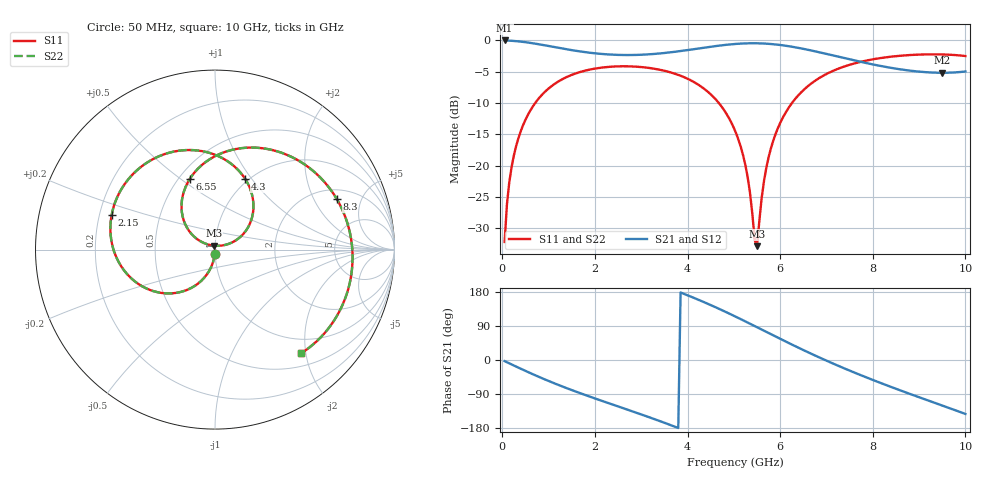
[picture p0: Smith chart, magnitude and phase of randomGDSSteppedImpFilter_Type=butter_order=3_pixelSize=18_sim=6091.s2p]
! freq	dB(S11)	phase(S11)	dB(S12)	phase(S12)
!  dB(S21)	phase(S21)	dB(S22)	phase(S22)
!S-par simulation data
#  GHz  S  DB  R 50
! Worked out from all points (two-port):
!   200 points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, 50 MHz to 10 GHz, reference 50 ohm
!   highest |S21| = -0.01 dB at 50 MHz (marker M1); lowest = -5.2 dB at 9.5 GHz (marker M2)
!   |S21| within 3 dB of the highest: start of sweep to 7.493 GHz
!   lowest |S11| = -32.8 dB at 5.5 GHz (marker M3), VSWR 1.05, Z = 49.4 + j2.18 ohm
!   |S11| at or under -10 dB: start of sweep to 709.9 MHz; 4.676 GHz to 6.255 GHz (1.578 GHz wide, 28.9 % of centre)
!   |S22| runs from -32.7 to -2.2 dB; largest |S21 - S12| = 0
!   S11 on the Smith chart (normalised r, x): 50 MHz: 1.00, -0.05; 2.15 GHz: 0.25, +0.15; 4.3 GHz: 0.97, +0.93; 6.55 GHz: 0.57, +0.54; 8.3 GHz: 2.50, +3.08; 10 GHz: 0.72, -1.91
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0.05  -32.16 -93.0  -0.01 -3.0  -0.01 -3.0  -32.16 -93.0
0.1  -26.17 -96.1  -0.02 -5.9  -0.02 -5.9  -26.17 -96.1
0.2  -20.25 -102.1  -0.06 -11.7  -0.06 -11.7  -20.25 -102.1
0.5  -12.67 -119.3  -0.28 -28.8  -0.28 -28.8  -12.67 -119.3
1.1  -7.09 -150.9  -1.03 -60.4  -1.03 -60.4  -7.09 -150.9
1.75  -4.90 178.9  -1.83 -90.6  -1.83 -90.6  -4.90 178.9
2.15  -4.34 161.6  -2.16 -107.8  -2.16 -107.8  -4.34 161.7
3.4  -4.68 108.8  -2.08 -161.1  -2.08 -161.1  -4.68 108.8
4.3  -7.40 66.6  -1.22 155.6  -1.22 155.6  -7.40 66.6
5.05  -14.84 29.0  -0.56 113.8  -0.56 113.8  -14.84 29.1
5.3  -21.88 22.8  -0.46 98.8  -0.46 98.8  -21.88 22.9
5.45  -31.84 55.7  -0.45 89.6  -0.45 89.6  -31.78 56.0
5.5  -32.83 104.6  -0.46 86.6  -0.46 86.6  -32.75 104.5
5.65  -22.48 149.7  -0.50 77.4  -0.50 77.4  -22.47 149.5
5.85  -16.02 146.3  -0.61 65.1  -0.61 65.1  -16.02 146.2
6.55  -7.61 109.9  -1.42 23.4  -1.42 23.4  -7.61 109.9
6.7  -6.72 101.8  -1.65 14.8  -1.65 14.8  -6.72 101.8
7.45  -4.00 62.8  -2.93 -25.4  -2.93 -25.4  -4.00 62.8
8.3  -2.68 22.7  -4.26 -66.7  -4.26 -66.7  -2.68 22.7
8.35  -2.63 20.4  -4.32 -69.0  -4.32 -69.0  -2.63 20.4
9.5  -2.24 -29.1  -5.16 -120.1  -5.16 -120.1  -2.24 -29.1
10  -2.49 -50.4  -4.96 -142.4  -4.96 -142.4  -2.49 -50.4
